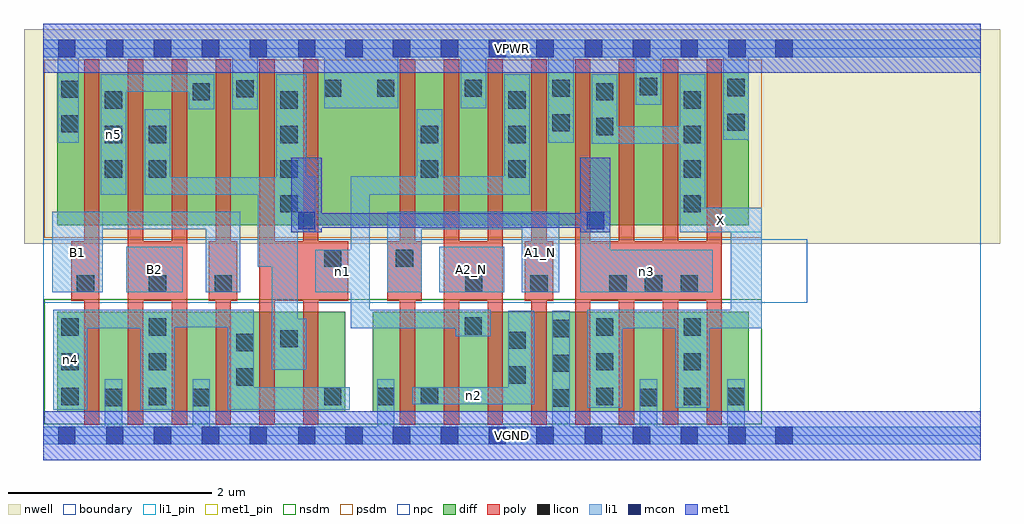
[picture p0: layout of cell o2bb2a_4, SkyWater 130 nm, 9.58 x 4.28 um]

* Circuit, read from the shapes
.subckt o2bb2a_4 A1_N A2_N B1 B2 VGND VPWR X n1 n2 n3 n4 n5
XM1 VGND B1 n4 VSUBS sky130_fd_pr__nfet_01v8 w=0.98 l=0.15 m=2
XM2 n4 B2 VGND VSUBS sky130_fd_pr__nfet_01v8 w=0.98 l=0.15 m=2
XM3 n3 n1 n4 VSUBS sky130_fd_pr__nfet_01v8 w=0.98 l=0.15 m=2
XM4 n2 A1_N VGND VSUBS sky130_fd_pr__nfet_01v8 w=0.98 l=0.15 m=2
XM5 n1 A2_N n2 VSUBS sky130_fd_pr__nfet_01v8 w=0.98 l=0.15 m=2
XM6 X n3 VGND VSUBS sky130_fd_pr__nfet_01v8 w=0.98 l=0.15 m=4
XM7 n5 B1 VPWR n6 sky130_fd_pr__pfet_01v8 w=1.5 l=0.15 m=2
XM8 n3 B2 n5 n6 sky130_fd_pr__pfet_01v8 w=1.5 l=0.15 m=2
XM9 n3 n1 VPWR n6 sky130_fd_pr__pfet_01v8 w=1.5 l=0.15 m=2
XM10 n1 A1_N VPWR n6 sky130_fd_pr__pfet_01v8 w=1.5 l=0.15 m=2
XM11 VPWR A2_N n1 n6 sky130_fd_pr__pfet_01v8 w=1.5 l=0.15 m=2
XM12 X n3 VPWR n6 sky130_fd_pr__pfet_01v8 w=1.5 l=0.15 m=4
.ends

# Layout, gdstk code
import gdstk
lib = gdstk.Library(unit=1e-6, precision=1e-09)
def R(c, l, rs):  # rectangles x0, y0, x1, y1
    for r in rs: c.add(gdstk.rectangle(r[:2], r[2:], *l))
def A(c, l, x, y, w, h, nx, ny, dx, dy):  # array of equal rectangles
    R(c, l, [(x+i*dx, y+j*dy, x+i*dx+w, y+j*dy+h) for i in range(nx) for j in range(ny)])
nwell = (64, 20)
diff = (65, 20)
poly = (66, 20)
licon = (66, 44)
li1_pin = (67, 16)
li1 = (67, 20)
mcon = (67, 44)
met1_pin = (68, 16)
met1 = (68, 20)
nsdm = (93, 44)
psdm = (94, 20)
npc = (95, 20)
boundary = (235, 4)

o2bb2a_4 = lib.new_cell('o2bb2a_4')
R(o2bb2a_4, nwell, [(-0.19,1.885,9.39,3.99), (0,1.885,9.2,3.99)])
R(o2bb2a_4, diff, [(0.135,0.235,2.965,1.215), (3.235,0.235,6.925,1.215), (0.135,2.065,6.925,3.565)])
A(o2bb2a_4, poly, 0.4, 0.105, 0.15, 3.59, 6, 1, 0.43, 0)
A(o2bb2a_4, poly, 3.5, 0.105, 0.15, 3.59, 8, 1, 0.43, 0)
R(o2bb2a_4, poly, [(0.275,1.325,0.55,1.905), (0.83,1.325,1.41,1.905), (1.625,1.325,1.905,1.905), (2.12,1.325,2.995,1.905), (3.375,1.325,3.715,1.905), (3.93,1.325,4.51,1.905), (4.725,1.325,5.005,1.905), (5.22,1.325,6.66,1.905)])
A(o2bb2a_4, licon, 4.995, 0.285, 0.17, 0.17, 1, 3, 0, 0.34)
A(o2bb2a_4, licon, 0.175, 0.3, 0.17, 0.17, 1, 3, 0, 0.34)
A(o2bb2a_4, licon, 1.035, 0.3, 0.17, 0.17, 1, 3, 0, 0.34)
A(o2bb2a_4, licon, 5.425, 0.3, 0.17, 0.17, 1, 3, 0, 0.34)
A(o2bb2a_4, licon, 6.285, 0.3, 0.17, 0.17, 1, 3, 0, 0.34)
A(o2bb2a_4, licon, 5.555, 1.405, 0.17, 0.17, 3, 1, 0.35, 0)
A(o2bb2a_4, licon, 2.325, 2.19, 0.17, 0.17, 1, 4, 0, 0.34)
A(o2bb2a_4, licon, 6.285, 2.19, 0.17, 0.17, 1, 4, 0, 0.34)
A(o2bb2a_4, licon, 0.605, 2.53, 0.17, 0.17, 1, 3, 0, 0.34)
A(o2bb2a_4, licon, 4.565, 2.53, 0.17, 0.17, 1, 3, 0, 0.34)
A(o2bb2a_4, licon, 3.275, 3.325, 0.17, 0.17, 3, 1, 0.86, 0)
R(o2bb2a_4, licon, [(0.605,0.29,0.775,0.46), (1.465,0.29,1.635,0.46), (5.855,0.29,6.025,0.46), (2.755,0.3,2.925,0.47), (3.275,0.3,3.445,0.47), (6.715,0.3,6.885,0.47), (3.705,0.305,3.875,0.475), (1.895,0.49,2.065,0.66), (4.565,0.51,4.735,0.68), (1.895,0.83,2.065,1), (4.565,0.85,4.735,1.02), (2.325,0.865,2.495,1.035), (4.135,0.99,4.305,1.16), (0.33,1.405,0.5,1.575), (1.035,1.405,1.205,1.575), (1.68,1.405,1.85,1.575), (4.14,1.405,4.31,1.575), (4.78,1.405,4.95,1.575), (2.755,1.655,2.925,1.825), (3.46,1.655,3.63,1.825), (1.035,2.53,1.205,2.7), (3.705,2.53,3.875,2.7), (1.035,2.87,1.205,3.04), (3.705,2.87,3.875,3.04), (5.425,2.95,5.595,3.12), (0.175,2.975,0.345,3.145), (4.995,2.985,5.165,3.155), (6.715,2.99,6.885,3.16), (1.465,3.29,1.635,3.46), (5.425,3.29,5.595,3.46), (0.175,3.315,0.345,3.485), (1.895,3.32,2.065,3.49), (2.755,3.325,2.925,3.495), (6.715,3.33,6.885,3.5), (5.855,3.34,6.025,3.51)])
R(o2bb2a_4, li1_pin, [(0.085,1.405,0.585,2.195), (0.815,1.405,1.37,1.855), (3.885,1.405,4.525,1.855), (4.695,1.405,5.065,2.195), (6.245,1.995,7.05,2.235)])
R(o2bb2a_4, li1, [(0,-0.085,9.2,0.085), (0.605,-0.085,0.775,0.555), (1.465,-0.085,1.635,0.555), (3.275,-0.085,3.445,0.555), (4.995,-0.085,5.165,1.225), (5.855,-0.085,6.025,0.555), (6.715,-0.085,6.885,0.555), (0.095,0.255,0.43,1.235), (0.95,0.255,1.29,1.235), (1.81,0.255,3.005,0.475), (1.81,0.255,2.065,1.235), (5.34,0.275,5.68,1.235), (6.2,0.275,6.54,1.235), (3.62,0.305,4.82,0.475), (4.565,0.305,4.82,1.225), (2.24,0.645,2.495,2.535), (2.24,0.645,2.58,1.145), (4.05,0.975,4.39,1.235), (0.095,1.055,1.29,1.235), (3.015,1.055,4.39,1.235), (3.015,1.055,3.205,2.545), (5.34,1.055,7.05,1.235), (6.745,1.055,7.05,2.235), (0.095,1.065,2.065,1.235), (0.085,1.405,0.585,2.195), (0.815,1.405,1.37,1.855), (1.595,1.405,1.935,2.195), (2.67,1.405,3.205,1.825), (3.375,1.405,3.715,2.195), (3.885,1.405,4.525,1.855), (4.695,1.405,5.065,2.195), (5.27,1.405,6.57,1.825), (5.27,1.405,5.565,2.195), (2.105,1.655,2.495,2.535), (2.285,1.995,2.58,3.545), (2.285,1.995,2.67,2.545), (6.245,1.995,6.495,3.545), (6.245,1.995,7.05,2.235), (0.085,2.025,1.935,2.195), (3.375,2.025,5.065,2.195), (0.565,2.365,0.815,3.545), (0.995,2.365,2.67,2.535), (0.995,2.365,1.245,3.205), (3.015,2.365,4.775,2.545), (3.665,2.365,3.915,3.205), (4.525,2.365,4.775,3.545), (5.385,2.865,6.495,3.035), (5.385,2.865,5.635,3.545), (0.14,2.875,0.345,3.885), (4.955,2.875,5.205,3.885), (6.675,2.905,6.925,3.885), (1.425,3.205,1.675,3.545), (1.855,3.205,2.105,3.885), (2.755,3.215,3.485,3.885), (4.095,3.215,4.345,3.885), (5.815,3.245,6.065,3.885), (0.565,3.375,1.675,3.545), (0,3.715,9.2,3.885)])
A(o2bb2a_4, mcon, 0.145, -0.085, 0.17, 0.17, 5, 2, 0.47, 3.8)
A(o2bb2a_4, mcon, 2.5, -0.085, 0.17, 0.17, 3, 2, 0.465, 3.8)
A(o2bb2a_4, mcon, 3.9, -0.085, 0.17, 0.17, 3, 2, 0.47, 3.8)
A(o2bb2a_4, mcon, 5.315, -0.085, 0.17, 0.17, 4, 2, 0.47, 3.8)
R(o2bb2a_4, mcon, [(7.185,-0.085,7.355,0.085), (2.5,2.025,2.67,2.195), (5.335,2.025,5.505,2.195), (7.185,3.715,7.355,3.885)])
R(o2bb2a_4, met1_pin, [(0,-0.24,9.2,0.24), (0,3.56,9.2,4.04)])
R(o2bb2a_4, met1, [(0,-0.24,9.2,0.24), (2.435,1.995,2.735,2.725), (5.27,1.995,5.565,2.725), (2.435,2.04,5.565,2.18), (0,3.56,9.2,4.04)])
R(o2bb2a_4, nsdm, [(0.01,0.11,7.05,1.34)])
R(o2bb2a_4, psdm, [(0.01,1.94,7.05,3.69)])
R(o2bb2a_4, npc, [(0,1.305,7.5,1.925)])
R(o2bb2a_4, boundary, [(0,0,9.2,3.8)])
o2bb2a_4.add(gdstk.Label('A1_N', (4.88,1.8), layer=67, texttype=5))
o2bb2a_4.add(gdstk.Label('A2_N', (4.205,1.63), layer=67, texttype=5))
o2bb2a_4.add(gdstk.Label('B1', (0.335,1.8), layer=67, texttype=5))
o2bb2a_4.add(gdstk.Label('B2', (1.092,1.63), layer=67, texttype=5))
o2bb2a_4.add(gdstk.Label('X', (6.647,2.115), layer=67, texttype=5))
o2bb2a_4.add(gdstk.Label('n2', (4.22,0.39), layer=67, texttype=5))
o2bb2a_4.add(gdstk.Label('n4', (0.262,0.745), layer=67, texttype=5))
o2bb2a_4.add(gdstk.Label('n3', (5.92,1.615), layer=67, texttype=5))
o2bb2a_4.add(gdstk.Label('n5', (0.69,2.955), layer=67, texttype=5))
o2bb2a_4.add(gdstk.Label('n1', (2.937,1.615), layer=67, texttype=5))
o2bb2a_4.add(gdstk.Label('VPWR', (4.6,3.8), layer=68, texttype=5))
o2bb2a_4.add(gdstk.Label('VGND', (4.6,0), layer=68, texttype=5))
o2bb2a_4.add(gdstk.Label('A1_N', (4.88,1.8), layer=67, texttype=16))
o2bb2a_4.add(gdstk.Label('A2_N', (4.205,1.63), layer=67, texttype=16))
o2bb2a_4.add(gdstk.Label('B1', (0.335,1.8), layer=67, texttype=16))
o2bb2a_4.add(gdstk.Label('B2', (1.092,1.63), layer=67, texttype=16))
o2bb2a_4.add(gdstk.Label('X', (6.647,2.115), layer=67, texttype=16))
o2bb2a_4.add(gdstk.Label('VPWR', (4.6,3.8), layer=68, texttype=16))
o2bb2a_4.add(gdstk.Label('VGND', (4.6,0), layer=68, texttype=16))

lib.write_gds('o2bb2a_4.gds')
